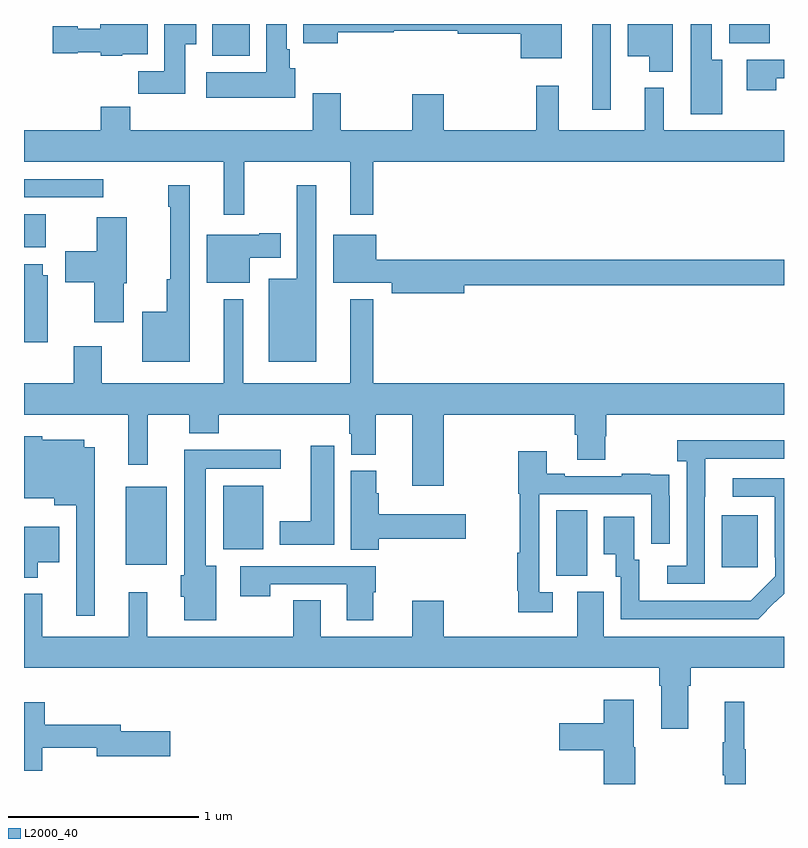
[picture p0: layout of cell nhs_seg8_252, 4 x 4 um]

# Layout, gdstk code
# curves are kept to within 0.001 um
import gdstk
lib = gdstk.Library(unit=1e-6, precision=1e-09)
def R(c, l, rs):  # rectangles x0, y0, x1, y1
    for r in rs: c.add(gdstk.rectangle(r[:2], r[2:], *l))
def P(c, l, *ps):  # polygons
    for p in ps: c.add(gdstk.Polygon(p, *l))
L2000_40 = (2000, 40)

nhs_seg8_252 = lib.new_cell('nhs_seg8_252')
R(nhs_seg8_252, L2000_40, [(129.8,1104.997,129.964,1105.34), (130.673,1105.041,130.861,1105.315), (127.535,1105.055,127.75,1105.465), (128.048,1105.136,128.26,1105.471), (127,1106.724,127.114,1106.899), (127,1106.988,127.417,1107.084), (129.992,1107.45,130.089,1107.9), (127.991,1107.734,128.188,1107.9), (130.712,1107.8,130.924,1107.9)])
P(nhs_seg8_252, L2000_40, [(127.849,1107.793),(127.906,1107.793),(127.906,1107.9),(127.739,1107.9),(127.739,1107.652),(127.6,1107.652),(127.6,1107.534),(127.849,1107.534)],
  [(130.675,1107.712),(130.621,1107.712),(130.621,1107.9),(130.508,1107.9),(130.508,1107.426),(130.675,1107.426)],
  [(128.428,1107.666),(128.398,1107.666),(128.398,1107.766),(128.383,1107.766),(128.383,1107.9),(128.276,1107.9),(128.276,1107.646),(127.959,1107.646),(127.959,1107.512),(128.428,1107.512)],
  [(130.414,1107.9),(130.178,1107.9),(130.178,1107.731),(130.292,1107.731),(130.292,1107.65),(130.414,1107.65)],
  [(127.518,1107.74),(127.651,1107.74),(127.651,1107.9),(127.4,1107.9),(127.4,1107.874),(127.284,1107.874),(127.284,1107.887),(127.152,1107.887),(127.152,1107.745),(127.284,1107.745),(127.284,1107.752),(127.404,1107.752),(127.404,1107.734),(127.518,1107.734)],
  [(129.829,1107.9),(128.471,1107.9),(128.471,1107.8),(128.65,1107.8),(128.65,1107.856),(128.946,1107.856),(128.946,1107.864),(129.284,1107.864),(129.284,1107.848),(129.614,1107.848),(129.614,1107.719),(129.829,1107.719)],
  [(130.959,1107.615),(131,1107.615),(131,1107.711),(130.803,1107.711),(130.803,1107.552),(130.959,1107.552)],
  [(128.158,1107.176),(128.717,1107.176),(128.717,1106.895),(128.839,1106.895),(128.839,1107.176),(131,1107.176),(131,1107.34),(130.366,1107.34),(130.366,1107.565),(130.268,1107.565),(130.268,1107.34),(129.815,1107.34),(129.815,1107.574),(129.697,1107.574),(129.697,1107.34),(129.208,1107.34),(129.208,1107.529),(129.044,1107.529),(129.044,1107.34),(128.667,1107.34),(128.667,1107.535),(128.519,1107.535),(128.519,1107.34),(127.559,1107.34),(127.559,1107.464),(127.403,1107.464),(127.403,1107.34),(127,1107.34),(127,1107.176),(128.051,1107.176),(128.051,1106.895),(128.158,1106.895)],
  [(127.873,1107.052),(127.759,1107.052),(127.759,1106.939),(127.769,1106.939),(127.769,1106.556),(127.751,1106.556),(127.751,1106.386),(127.622,1106.386),(127.622,1106.123),(127.873,1106.123)],
  [(128.539,1107.052),(128.435,1107.052),(128.435,1106.56),(128.288,1106.56),(128.288,1106.123),(128.539,1106.123)],
  [(127.525,1106.535),(127.54,1106.535),(127.54,1106.884),(127.382,1106.884),(127.382,1106.704),(127.218,1106.704),(127.218,1106.542),(127.37,1106.542),(127.37,1106.331),(127.525,1106.331)],
  [(128.188,1106.669),(128.35,1106.669),(128.35,1106.799),(128.237,1106.799),(128.237,1106.791),(127.961,1106.791),(127.961,1106.537),(128.188,1106.537)],
  [(129.316,1106.524),(131,1106.524),(131,1106.66),(128.854,1106.66),(128.854,1106.791),(128.627,1106.791),(128.627,1106.537),(128.936,1106.537),(128.936,1106.482),(129.316,1106.482)],
  [(127.126,1106.577),(127.099,1106.577),(127.099,1106.635),(127,1106.635),(127,1106.225),(127.126,1106.225)],
  [(129.208,1105.844),(129.899,1105.844),(129.899,1105.738),(129.911,1105.738),(129.911,1105.606),(130.059,1105.606),(130.059,1105.731),(130.064,1105.731),(130.064,1105.844),(131,1105.844),(131,1106.008),(128.839,1106.008),(128.839,1106.452),(128.717,1106.452),(128.717,1106.008),(128.155,1106.008),(128.155,1106.452),(128.051,1106.452),(128.051,1106.008),(127.408,1106.008),(127.408,1106.203),(127.261,1106.203),(127.261,1106.008),(127,1106.008),(127,1105.844),(127.549,1105.844),(127.549,1105.581),(127.65,1105.581),(127.65,1105.844),(127.871,1105.844),(127.871,1105.745),(128.024,1105.745),(128.024,1105.844),(128.711,1105.844),(128.711,1105.743),(128.723,1105.743),(128.723,1105.633),(128.851,1105.633),(128.851,1105.844),(129.044,1105.844),(129.044,1105.47),(129.208,1105.47)],
  [(127.372,1105.672),(127.318,1105.672),(127.318,1105.711),(127.095,1105.711),(127.095,1105.729),(127,1105.729),(127,1105.625),(127.001,1105.625),(127.001,1105.403),(127.16,1105.403),(127.16,1105.367),(127.275,1105.367),(127.275,1104.786),(127.372,1104.786)],
  [(130.584,1105.411),(130.585,1105.411),(130.585,1105.611),(131,1105.611),(131,1105.708),(130.437,1105.708),(130.437,1105.598),(130.488,1105.598),(130.488,1105.05),(130.386,1105.05),(130.386,1104.954),(130.584,1104.954)],
  [(128.632,1105.681),(128.51,1105.681),(128.51,1105.282),(128.345,1105.282),(128.345,1105.16),(128.632,1105.16)],
  [(128.011,1105.048),(127.957,1105.048),(127.957,1105.56),(128.35,1105.56),(128.35,1105.658),(127.844,1105.658),(127.844,1104.999),(127.826,1104.999),(127.826,1104.885),(127.844,1104.885),(127.844,1104.762),(128.011,1104.762)],
  [(129.784,1104.909),(129.711,1104.909),(129.711,1105.425),(130.302,1105.425),(130.302,1105.164),(130.398,1105.164),(130.398,1105.418),(130.397,1105.418),(130.397,1105.527),(130.295,1105.527),(130.295,1105.534),(130.147,1105.534),(130.147,1105.521),(129.847,1105.521),(129.847,1105.534),(129.751,1105.534),(129.751,1105.651),(129.602,1105.651),(129.602,1105.428),(129.61,1105.428),(129.61,1105.116),(129.595,1105.116),(129.595,1104.916),(129.602,1104.916),(129.602,1104.804),(129.784,1104.804)],
  [(128.867,1105.192),(129.325,1105.192),(129.325,1105.321),(128.867,1105.321),(128.867,1105.43),(128.854,1105.43),(128.854,1105.548),(128.72,1105.548),(128.72,1105.132),(128.867,1105.132)],
  [(130.955,1104.859),(130.956,1104.858),(131,1104.902),(131,1105.509),(130.731,1105.509),(130.731,1105.413),(130.95,1105.413),(130.95,1105.093),(130.953,1105.093),(130.953,1104.993),(130.825,1104.865),(130.237,1104.864),(130.237,1105.08),(130.213,1105.08),(130.213,1105.306),(130.052,1105.306),(130.052,1105.109),(130.115,1105.109),(130.115,1104.99),(130.14,1104.99),(130.14,1104.768),(130.864,1104.768)],
  [(127.072,1105.067),(127.186,1105.067),(127.186,1105.255),(127,1105.255),(127,1104.986),(127.072,1104.986)],
  [(128.839,1104.909),(128.852,1104.909),(128.852,1105.047),(128.139,1105.047),(128.139,1104.888),(128.295,1104.888),(128.295,1104.951),(128.699,1104.951),(128.699,1104.762),(128.839,1104.762)],
  [(130.495,1104.416),(130.508,1104.416),(130.508,1104.512),(131,1104.512),(131,1104.676),(130.051,1104.676),(130.051,1104.912),(129.911,1104.912),(129.911,1104.676),(129.208,1104.676),(129.208,1104.865),(129.044,1104.865),(129.044,1104.676),(128.563,1104.676),(128.563,1104.866),(128.416,1104.866),(128.416,1104.676),(127.648,1104.676),(127.648,1104.91),(127.55,1104.91),(127.55,1104.676),(127.097,1104.676),(127.097,1104.901),(127,1104.901),(127,1104.512),(130.343,1104.512),(130.343,1104.416),(130.355,1104.416),(130.355,1104.192),(130.495,1104.192)],
  [(130.218,1104.093),(130.21,1104.093),(130.21,1104.343),(130.052,1104.343),(130.052,1104.219),(129.816,1104.219),(129.816,1104.077),(130.052,1104.077),(130.052,1103.9),(130.218,1103.9)],
  [(130.798,1104.084),(130.79,1104.084),(130.79,1104.334),(130.688,1104.334),(130.688,1104.121),(130.677,1104.121),(130.677,1103.947),(130.688,1103.947),(130.688,1103.9),(130.798,1103.9)],
  [(127.096,1104.09),(127.382,1104.09),(127.382,1104.047),(127.771,1104.047),(127.771,1104.177),(127.51,1104.177),(127.51,1104.211),(127.109,1104.211),(127.109,1104.331),(127,1104.331),(127,1103.97),(127.096,1103.97)])

lib.write_gds('nhs_seg8_252.gds')
